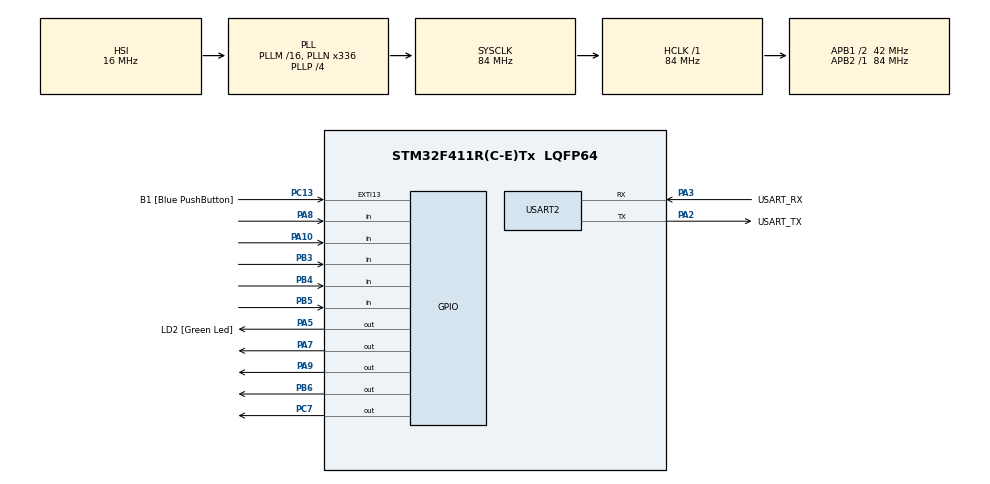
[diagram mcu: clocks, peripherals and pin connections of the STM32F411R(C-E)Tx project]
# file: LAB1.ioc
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Mcu.Family=STM32F4
Mcu.Name=STM32F411R(C-E)Tx
Mcu.Package=LQFP64
NVIC.PriorityGroup=NVIC_PRIORITYGROUP_0
PA10.GPIO_PuPd=GPIO_PULLUP
PA10.Signal=GPIO_Input
PA13.GPIO_Label=TMS
PA13.Mode=Serial_Wire
PA13.Signal=SYS_JTMS-SWDIO
PA14.GPIO_Label=TCK
PA14.Mode=Serial_Wire
PA14.Signal=SYS_JTCK-SWCLK
PA2.GPIO_Label=USART_TX
PA2.Mode=Asynchronous
PA2.Signal=USART2_TX
PA3.GPIO_Label=USART_RX
PA3.Mode=Asynchronous
PA3.Signal=USART2_RX
PA5.GPIO_Label=LD2 [Green Led]
PA5.GPIO_ModeDefaultOutputPP=GPIO_MODE_OUTPUT_PP
PA5.GPIO_PuPd=GPIO_NOPULL
PA5.Signal=GPIO_Output
PA7.GPIO_ModeDefaultOutputPP=GPIO_MODE_OUTPUT_OD
PA7.GPIO_PuPd=GPIO_NOPULL
PA7.Signal=GPIO_Output
PA8.GPIO_PuPd=GPIO_PULLUP
PA8.Signal=GPIO_Input
PA9.GPIO_ModeDefaultOutputPP=GPIO_MODE_OUTPUT_OD
PA9.GPIO_PuPd=GPIO_NOPULL
PA9.Signal=GPIO_Output
PB3.GPIO_PuPd=GPIO_PULLUP
PB3.Signal=GPIO_Input
PB4.GPIO_PuPd=GPIO_PULLUP
PB4.Signal=GPIO_Input
PB5.GPIO_PuPd=GPIO_PULLUP
PB5.Signal=GPIO_Input
PB6.GPIO_ModeDefaultOutputPP=GPIO_MODE_OUTPUT_OD
PB6.GPIO_PuPd=GPIO_NOPULL
PB6.Signal=GPIO_Output
PC13-ANTI_TAMP.GPIO_Label=B1 [Blue PushButton]
PC13-ANTI_TAMP.GPIO_ModeDefaultEXTI=GPIO_MODE_IT_FALLING
PC13-ANTI_TAMP.Signal=GPXTI13
PC14-OSC32_IN.Mode=LSE-External-Oscillator
PC14-OSC32_IN.Signal=RCC_OSC32_IN
PC15-OSC32_OUT.Mode=LSE-External-Oscillator
PC15-OSC32_OUT.Signal=RCC_OSC32_OUT
PC7.GPIO_ModeDefaultOutputPP=GPIO_MODE_OUTPUT_PP
PC7.GPIO_PuPd=GPIO_NOPULL
PC7.Signal=GPIO_Output
PH0\ -\ OSC_IN.Mode=HSE-External-Clock-Source
PH0\ -\ OSC_IN.Signal=RCC_OSC_IN
PH1\ -\ OSC_OUT.Mode=HSE-External-Clock-Source
PH1\ -\ OSC_OUT.Signal=RCC_OSC_OUT
ProjectManager.HeapSize=0x200
ProjectManager.StackSize=0x400
ProjectManager.TargetToolchain=STM32CubeIDE
RCC.48MHZClocksFreq_Value=84000000
RCC.AHBFreq_Value=84000000
RCC.APB1CLKDivider=RCC_HCLK_DIV2
RCC.APB1Freq_Value=42000000
RCC.APB1TimFreq_Value=84000000
RCC.APB2Freq_Value=84000000
RCC.APB2TimFreq_Value=84000000
RCC.CortexFreq_Value=84000000
RCC.FLatency-AdvancedSettings=FLASH_LATENCY_2
RCC.HCLKFreq_Value=84000000
RCC.HSE_VALUE=8000000
RCC.HSI_VALUE=16000000
RCC.PLLN=336
RCC.PLLP=RCC_PLLP_DIV4
RCC.SYSCLKFreq_VALUE=84000000
RCC.SYSCLKSource=RCC_SYSCLKSOURCE_PLLCLK
RCC.VCOOutputFreq_Value=336000000
USART2.VirtualMode=VM_ASYNC
board=NUCLEO-F411RE

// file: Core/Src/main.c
/* USER CODE BEGIN Header */
/**
  ******************************************************************************
  * @file           : main.c
  * @brief          : Main program body
  ******************************************************************************
  * @attention
  *
  * Copyright (c) 2023 STMicroelectronics.
  * All rights reserved.
  *
  * This software is licensed under terms that can be found in the LICENSE file
  * in the root directory of this software component.
  * If no LICENSE file comes with this software, it is provided AS-IS.
  *
  ******************************************************************************
  */
/* USER CODE END Header */
#include "main.h"

UART_HandleTypeDef huart2;

/* USER CODE BEGIN PV */

uint8_t flag = 0;
uint32_t current = 0;
uint32_t last = 0;
typedef struct PortAndPin
{
	GPIO_TypeDef* PORT;
	uint16_t PIN;
}PortPin;

PortPin R[4] =
{ 		{ GPIOA, GPIO_PIN_9 },
		{ GPIOC, GPIO_PIN_7 },
		{ GPIOB,GPIO_PIN_6 },
		{ GPIOA, GPIO_PIN_7 } };
PortPin L[4] =
{ 		{ GPIOA, GPIO_PIN_10 },
		{ GPIOB, GPIO_PIN_3 },
		{ GPIOB, GPIO_PIN_5 },
		{ GPIOB, GPIO_PIN_4 } };
uint32_t ButtonMatrix = 0;
uint16_t state = 0;
/* USER CODE END PV */

void SystemClock_Config(void);
static void MX_GPIO_Init(void);
static void MX_USART2_UART_Init(void);
/* USER CODE BEGIN PFP */
void ReadMatrixButton_1Row();
/* USER CODE END PFP */

/* USER CODE BEGIN 0 */
GPIO_PinState detect;
/* USER CODE END 0 */

int main(void)
{

  /* MCU Configuration--------------------------------------------------------*/

  /* Reset of all peripherals, Initializes the Flash interface and the Systick. */
  HAL_Init();

  /* Configure the system clock */
  SystemClock_Config();

  /* Initialize all configured peripherals */
  MX_GPIO_Init();
  MX_USART2_UART_Init();

  /* Infinite loop */
  while (1)
  {

    /* USER CODE BEGIN 3 */
	  current = ButtonMatrix;
	  static uint32_t timestamp = 0; //จับเวลาใน�?ารอ่าน
	     if(HAL_GetTick()>=timestamp)
	     {
	      timestamp = HAL_GetTick() + 10;
//	      detect = HAL_GPIO_ReadPin(GPIOB, GPIO_PIN_5);
	      ReadMatrixButton_1Row();
	     }

	   if(last == 0 && current != 0)
	   {
		   flag = 1 ;
	   }
	   else {
		   flag = 0;
	   }

	   switch(state){
	   case 0:
		   HAL_GPIO_WritePin(GPIOA, GPIO_PIN_5, GPIO_PIN_RESET);
		   if( ButtonMatrix == 512 && flag == 1){
			   state = 1;
		   }
		   else if(ButtonMatrix != 512 && flag == 1){
			   state = 13;
		   }
		   break;

	   case 1:
		   if (ButtonMatrix == 2 && flag == 1){
			   state = 2;
		   }
		   else if (ButtonMatrix != 2 && flag == 1){
			   state = 13;
		   }
		   break;

	   case 2:
		   if (ButtonMatrix == 1024 && flag == 1){
			   state = 3;
		   }
		   else if (ButtonMatrix != 1024 && flag == 1){
			   state = 13;
		   }
		   break;
	   case 3:
		   if (ButtonMatrix == 2 && flag == 1){
			   state = 4;
		   }
		   else if (ButtonMatrix != 2 && flag == 1){
			   state = 13;
		   }
		   break;
	   case 4:
		   if (ButtonMatrix == 8 && flag == 1){
			   state = 5;
		   }
		   else if (ButtonMatrix != 8 && flag == 1){
			   state = 13;
		   }
		   break;
	   case 5:
		   if (ButtonMatrix == 32 && flag == 1){
			   state = 6;
		   }
		   else if (ButtonMatrix != 32 && flag == 1){
			   state = 13;
		   }
		   break;
	   case 6:
		   if (ButtonMatrix == 8 && flag == 1){
			   state = 7;
		   }
		   else if (ButtonMatrix != 8 && flag == 1){
			   state = 13;
		   }
		   break;
	   case 7:
		   if (ButtonMatrix == 8 && flag == 1){
			   state = 8;
		   }
		   else if (ButtonMatrix != 8 && flag == 1){
			   state = 13;
		   }
		   break;
	   case 8:
		   if (ButtonMatrix == 8 && flag == 1){
			   state = 9;
		   }
		   else if (ButtonMatrix != 8 && flag == 1){
			   state = 13;
		   }
		   break;
	   case 9:
		   if (ButtonMatrix == 2 && flag == 1){
			   state = 10;
		   }
		   else if (ButtonMatrix != 2 && flag == 1){
			   state = 13;
		   }
		   break;
	   case 10:
		   if (ButtonMatrix == 1 && flag == 1){
			   state = 11;
		   }
		   else if (ButtonMatrix != 1 && flag == 1){
			   state = 13;
		   }
		   break;
	   case 11:
		   if (ButtonMatrix == 32768 && flag == 1){
			   state = 12;

		   }
		   else if (ButtonMatrix != 32768 && flag == 1){
			   state = 13;
		   }
		   break;
	   case 12:
		   HAL_GPIO_WritePin(GPIOA, GPIO_PIN_5, GPIO_PIN_SET);
		   if (ButtonMatrix == 4096 && flag == 1){
			   state = 0;
		   }
		   break;
	   case 13:
		   if (ButtonMatrix == 4096 && flag == 1){
			   state = 0;
		   }
		   break;

	   }
	   last = current;
  }

  /* USER CODE END 3 */
}

void SystemClock_Config(void)
{
  RCC_OscInitTypeDef RCC_OscInitStruct = {0};
  RCC_ClkInitTypeDef RCC_ClkInitStruct = {0};

  /** Configure the main internal regulator output voltage
  */
  __HAL_RCC_PWR_CLK_ENABLE();
  __HAL_PWR_VOLTAGESCALING_CONFIG(PWR_REGULATOR_VOLTAGE_SCALE1);

  /** Initializes the RCC Oscillators according to the specified parameters
  * in the RCC_OscInitTypeDef structure.
  */
  RCC_OscInitStruct.OscillatorType = RCC_OSCILLATORTYPE_HSI;
  RCC_OscInitStruct.HSIState = RCC_HSI_ON;
  RCC_OscInitStruct.HSICalibrationValue = RCC_HSICALIBRATION_DEFAULT;
  RCC_OscInitStruct.PLL.PLLState = RCC_PLL_ON;
  RCC_OscInitStruct.PLL.PLLSource = RCC_PLLSOURCE_HSI;
  RCC_OscInitStruct.PLL.PLLM = 16;
  RCC_OscInitStruct.PLL.PLLN = 336;
  RCC_OscInitStruct.PLL.PLLP = RCC_PLLP_DIV4;
  RCC_OscInitStruct.PLL.PLLQ = 4;
  if (HAL_RCC_OscConfig(&RCC_OscInitStruct) != HAL_OK)
  {
    Error_Handler();
  }

  /** Initializes the CPU, AHB and APB buses clocks
  */
  RCC_ClkInitStruct.ClockType = RCC_CLOCKTYPE_HCLK|RCC_CLOCKTYPE_SYSCLK
                              |RCC_CLOCKTYPE_PCLK1|RCC_CLOCKTYPE_PCLK2;
  RCC_ClkInitStruct.SYSCLKSource = RCC_SYSCLKSOURCE_PLLCLK;
  RCC_ClkInitStruct.AHBCLKDivider = RCC_SYSCLK_DIV1;
  RCC_ClkInitStruct.APB1CLKDivider = RCC_HCLK_DIV2;
  RCC_ClkInitStruct.APB2CLKDivider = RCC_HCLK_DIV1;

  if (HAL_RCC_ClockConfig(&RCC_ClkInitStruct, FLASH_LATENCY_2) != HAL_OK)
  {
    Error_Handler();
  }
}

static void MX_USART2_UART_Init(void)
{

  huart2.Instance = USART2;
  huart2.Init.BaudRate = 115200;
  huart2.Init.WordLength = UART_WORDLENGTH_8B;
  huart2.Init.StopBits = UART_STOPBITS_1;
  huart2.Init.Parity = UART_PARITY_NONE;
  huart2.Init.Mode = UART_MODE_TX_RX;
  huart2.Init.HwFlowCtl = UART_HWCONTROL_NONE;
  huart2.Init.OverSampling = UART_OVERSAMPLING_16;
  if (HAL_UART_Init(&huart2) != HAL_OK)
  {
    Error_Handler();
  }

}

static void MX_GPIO_Init(void)
{
  GPIO_InitTypeDef GPIO_InitStruct = {0};

  /* GPIO Ports Clock Enable */
  __HAL_RCC_GPIOC_CLK_ENABLE();
  __HAL_RCC_GPIOH_CLK_ENABLE();
  __HAL_RCC_GPIOA_CLK_ENABLE();
  __HAL_RCC_GPIOB_CLK_ENABLE();

  /*Configure GPIO pin Output Level */
  HAL_GPIO_WritePin(GPIOA, LD2_Pin|GPIO_PIN_7|GPIO_PIN_9, GPIO_PIN_RESET);

  /*Configure GPIO pin Output Level */
  HAL_GPIO_WritePin(GPIOC, GPIO_PIN_7, GPIO_PIN_RESET);

  /*Configure GPIO pin Output Level */
  HAL_GPIO_WritePin(GPIOB, GPIO_PIN_6, GPIO_PIN_RESET);

  /*Configure GPIO pin : B1_Pin */
  GPIO_InitStruct.Pin = B1_Pin;
  GPIO_InitStruct.Mode = GPIO_MODE_IT_FALLING;
  GPIO_InitStruct.Pull = GPIO_NOPULL;
  HAL_GPIO_Init(B1_GPIO_Port, &GPIO_InitStruct);

  /*Configure GPIO pin : LD2_Pin */
  GPIO_InitStruct.Pin = LD2_Pin;
  GPIO_InitStruct.Mode = GPIO_MODE_OUTPUT_PP;
  GPIO_InitStruct.Pull = GPIO_NOPULL;
  GPIO_InitStruct.Speed = GPIO_SPEED_FREQ_LOW;
  HAL_GPIO_Init(LD2_GPIO_Port, &GPIO_InitStruct);

  /*Configure GPIO pins : PA7 PA9 */
  GPIO_InitStruct.Pin = GPIO_PIN_7|GPIO_PIN_9;
  GPIO_InitStruct.Mode = GPIO_MODE_OUTPUT_OD;
  GPIO_InitStruct.Pull = GPIO_NOPULL;
  GPIO_InitStruct.Speed = GPIO_SPEED_FREQ_LOW;
  HAL_GPIO_Init(GPIOA, &GPIO_InitStruct);

  /*Configure GPIO pin : PC7 */
  GPIO_InitStruct.Pin = GPIO_PIN_7;
  GPIO_InitStruct.Mode = GPIO_MODE_OUTPUT_PP;
  GPIO_InitStruct.Pull = GPIO_NOPULL;
  GPIO_InitStruct.Speed = GPIO_SPEED_FREQ_LOW;
  HAL_GPIO_Init(GPIOC, &GPIO_InitStruct);

  /*Configure GPIO pins : PA8 PA10 */
  GPIO_InitStruct.Pin = GPIO_PIN_8|GPIO_PIN_10;
  GPIO_InitStruct.Mode = GPIO_MODE_INPUT;
  GPIO_InitStruct.Pull = GPIO_PULLUP;
  HAL_GPIO_Init(GPIOA, &GPIO_InitStruct);

  /*Configure GPIO pins : PB3 PB4 PB5 */
  GPIO_InitStruct.Pin = GPIO_PIN_3|GPIO_PIN_4|GPIO_PIN_5;
  GPIO_InitStruct.Mode = GPIO_MODE_INPUT;
  GPIO_InitStruct.Pull = GPIO_PULLUP;
  HAL_GPIO_Init(GPIOB, &GPIO_InitStruct);

  /*Configure GPIO pin : PB6 */
  GPIO_InitStruct.Pin = GPIO_PIN_6;
  GPIO_InitStruct.Mode = GPIO_MODE_OUTPUT_OD;
  GPIO_InitStruct.Pull = GPIO_NOPULL;
  GPIO_InitStruct.Speed = GPIO_SPEED_FREQ_LOW;
  HAL_GPIO_Init(GPIOB, &GPIO_InitStruct);

}

/* USER CODE BEGIN 4 */
void ReadMatrixButton_1Row() {
    static uint8_t X = 0;
    register int i;
    for (i = 0; i < 4; i++) {
        if (HAL_GPIO_ReadPin(L[i].PORT, L[i].PIN)) {
            ButtonMatrix &= ~(1 << (X * 4 + i)); // << คือ�?าร shift ค่าเข้ามา
        } else {
            ButtonMatrix |= 1 << (X * 4 + i); //
        }
    }
    HAL_GPIO_WritePin(R[X].PORT, R[X].PIN, 1);
    HAL_GPIO_WritePin(R[(X + 1) % 4].PORT, R[(X + 1) % 4].PIN, 0); // output จ่ายไฟให้�?ต่ละหลั�?
    X++;
    X %= 4;
}
/* USER CODE END 4 */

void Error_Handler(void)
{
  __disable_irq();
  while (1)
  {
  }
}
